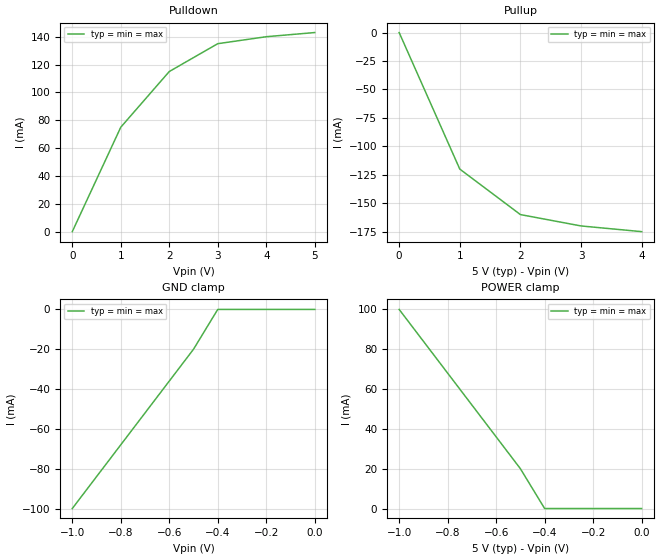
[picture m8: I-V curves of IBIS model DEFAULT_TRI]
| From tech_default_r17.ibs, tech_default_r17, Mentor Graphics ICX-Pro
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[Model]		DEFAULT_TRI
Model_type	3-state
Polarity	Non-Inverting
Enable		Active-High
Vmeas = 2.500000V
Cref = 50.000000pF
Vref = 0.0V
Rref = 0.500000k
|		typ		min		max
C_comp		5.500000pF		2.000000pF		8.000000pF
|			typ		min		max
[voltage range]	5.000000V		4.500000V		5.500000V
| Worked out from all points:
|   slope of the pulldown table from 0 to 0.75 V, typ, clamps not added: 13.3 ohm
|   slope of the pullup table from 0 to 0.75 V, typ, clamps not added: 8.33 ohm
|   GND clamp passes 1 mA (typ) near -0.41 V on its own axis
|   POWER clamp passes 1 mA (typ) near -0.41 V on its own axis
[Pulldown]
|	Voltage		I(typ)		I(min)		I(max)
0V        0A         0A         0A
1V        75mA       75mA       75mA
2V        115mA      115mA      115mA
3V        135mA      135mA      135mA
4V        140mA      140mA      140mA
5V        143mA      143mA      143mA
[Pullup]
|	Voltage		I(typ)		I(min)		I(max)
0V        0A         0A         0A
1V        -120mA     -120mA     -120mA
2V        -160mA     -160mA     -160mA
3V        -170mA     -170mA     -170mA
4V        -175mA     -175mA     -175mA
[Gnd Clamp]
|	Voltage		I(typ)		I(min)		I(max)
-1V       -100mA     -100mA     -100mA
-500mV    -20mA      -20mA      -20mA
-400mV    0A         0A         0A
0V        0A         0A         0A
[Power Clamp]
|	Voltage		I(typ)		I(min)		I(max)
-1V       100mA      100mA      100mA
-500mV    20mA       20mA       20mA
-400mV    0A         0A         0A
0V        0A         0A         0A
[Ramp]
|  variable	typ		min		max
dV/dt_r		2/1.200000ns	2/1.500000ns	2/1.000000ns
dV/dt_f		2/1.200000ns	2/1.500000ns	2/1.000000ns
R_load = 	50Ohms
